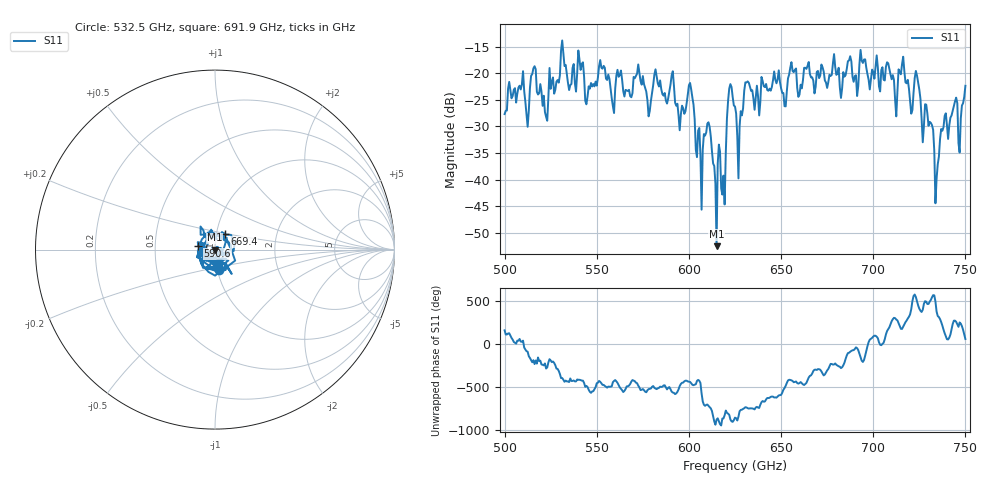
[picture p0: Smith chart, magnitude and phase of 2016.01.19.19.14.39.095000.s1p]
!Created with skrf (http://scikit-rf.org).
# GHz S RI R 50.0
!freq ReS11 ImS11
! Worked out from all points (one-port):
!   401 points, 500 GHz to 750 GHz, reference 50 ohm
!   lowest |S11| = -52.5 dB at 615 GHz (marker M1), VSWR 1.00, Z = 49.8 - j0.0878 ohm
!   |S11| at or under -10 dB: start of sweep to end of sweep
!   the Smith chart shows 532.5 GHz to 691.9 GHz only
!   S11 on the Smith chart (normalised r, x): 532.5 GHz: 1.02, -0.24; 590.6 GHz: 0.83, +0.03; 669.4 GHz: 1.10, +0.19; 691.9 GHz: 1.04, -0.15
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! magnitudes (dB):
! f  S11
! 500 GHz  -27.7
! 508.8 GHz  -23.0
! 512.5 GHz  -30.1
! 515.6 GHz  -19.1
! 521.9 GHz  -27.3
! 531.2 GHz  -13.8
! 532.5 GHz  -18.6
! 545 GHz  -24.4
! 562.5 GHz  -20.3
! 590.6 GHz  -20.4
! 593.8 GHz  -25.7
! 601.2 GHz  -23.0
! 605.6 GHz  -30.3
! 610.6 GHz  -29.2
! 615 GHz  -52.5
! 618.8 GHz  -39.2
! 621.9 GHz  -22.8
! 625 GHz  -26.2
! 656.2 GHz  -19.6
! 669.4 GHz  -19.7
! 687.5 GHz  -16.8
! 691.9 GHz  -22.4
! 718.8 GHz  -21.2
! 723.8 GHz  -20.4
! 734.4 GHz  -39.8
! 738.1 GHz  -30.2
! 747.5 GHz  -28.5
! 750 GHz  -22.3
